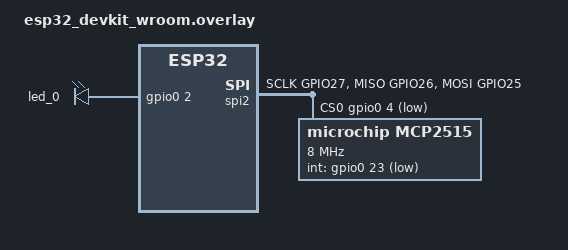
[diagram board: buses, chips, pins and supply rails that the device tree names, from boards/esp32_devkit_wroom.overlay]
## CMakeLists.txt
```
cmake_minimum_required(VERSION 3.20.0)

set(BOARD esp32_devkitc_wroom)
set(DTO_DIR ${CMAKE_CURRENT_SOURCE_DIR}/boards)
set(DTC_OVERLAY_FILE ${DTO_DIR}/esp32_devkit_wroom.overlay)
find_package(Zephyr REQUIRED HINTS $ENV{ZEPHYR_BASE})

project(cruise_control)

target_sources(app PRIVATE 
    src/serial/serial_handler.c
    src/can/can.c
    src/main.c
)
```

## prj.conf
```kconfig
CONFIG_ESP32_USE_UNSUPPORTED_REVISION=y
CONFIG_STDOUT_CONSOLE=y
CONFIG_UART_INTERRUPT_DRIVEN=y
CONFIG_GPIO=y
CONFIG_CAN=y
CONFIG_SPI=y
CONFIG_ASSERT=y
```

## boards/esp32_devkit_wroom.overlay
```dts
/{
    leds {
        compatible = "gpio-leds";
        led_0:led_0 {
            gpios = <&gpio0 2 GPIO_ACTIVE_HIGH>;
        };
    };

    chosen{
        zephyr,canbus = &mcp2515;
    };
};


&pinctrl {
    spi2_default:spi2_default{
        group1{
            pinmux = <SPIM2_SCLK_GPIO27>,
                     <SPIM2_MISO_GPIO26>,
                     <SPIM2_MOSI_GPIO25>;
        };
    };
};


&spi2 {
    status = "okay";
    pinctrl-0 = <&spi2_default>;
    cs-gpios = <&gpio0 4 GPIO_ACTIVE_LOW>;

    mcp2515: can@0  {
        compatible = "microchip,mcp2515";
        osc-freq = <8000000>;
        spi-max-frequency = <8000000>;
        int-gpios = <&gpio0 23 GPIO_ACTIVE_LOW>;
        sample-point = <875>;
        reg = <0x0>;
        tja1050{
            min-bitrate = <40000>;
            max-bitrate = <1000000>;
        };
    };

};
```

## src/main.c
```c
#include <zephyr/kernel.h>
#include <zephyr/sys/printk.h>
#include <zephyr/device.h>
#include "serial/serial_handler.h"
#include <stdlib.h>
#include "can/can.h"

static const struct device *uart_dev = DEVICE_DT_GET(UART_DEVICE_NODE);
static const struct device *const can_dev = DEVICE_DT_GET(DT_CHOSEN(zephyr_canbus));

K_MSGQ_DEFINE(uart_queue, q_msg_size, 10, 1);
K_MSGQ_DEFINE(can_queue, sizeof(struct plot_print), 10, 1);

int main(void)
{
    struct plot_print data = {0};
    int target = 0;

    char tx_buf[50];
    if (serial_init(uart_dev))
    {
        printk("Serial started");
    }
    else
    {
        printk("Serial got some error\n");
    }

    init_can(can_dev);
    enable_rx_callback_filter(can_dev, TARGET_CONTROL_ID);


    while (1)
    {
        if (k_msgq_get(&uart_queue, &tx_buf, K_NO_WAIT) == 0)
        {
            target = atoi(tx_buf);
            if (target < 0)
            {
                target *= -1;
            }
            send_can_control_data(can_dev, (uint16_t)target);
        }
        if (k_msgq_get(&can_queue, &data, K_NO_WAIT) == 0)
        {
            printk("%d,%d\n", data.rpm, data.target);
        }
        k_msleep(10);
    }

    return 0;
}
```
